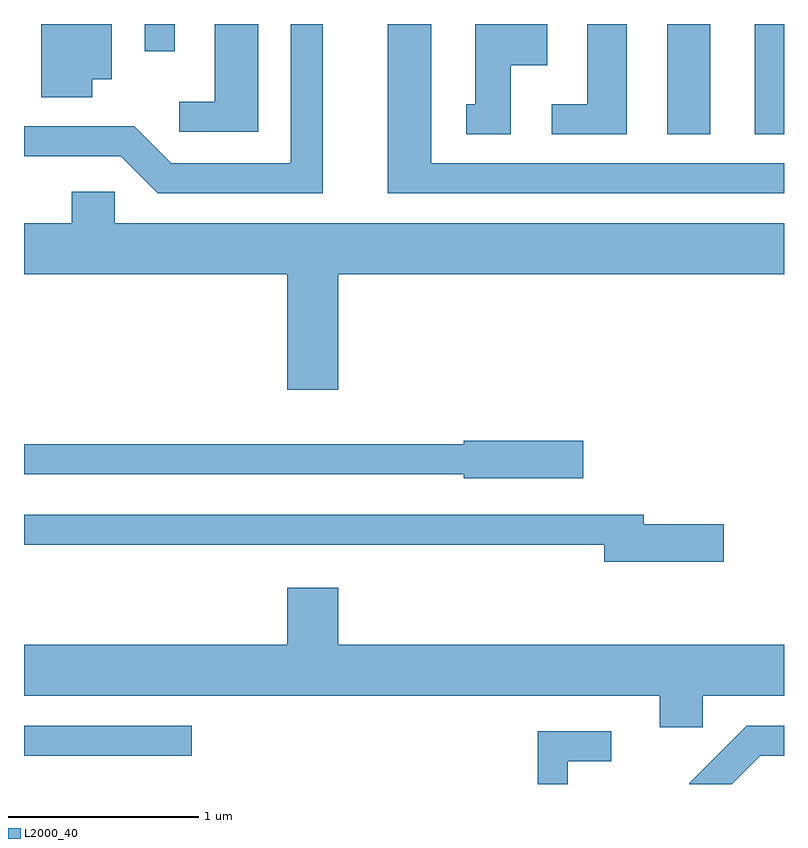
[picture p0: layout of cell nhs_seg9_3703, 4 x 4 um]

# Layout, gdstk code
import gdstk
lib = gdstk.Library(unit=1e-6, precision=1e-09)
def R(c, l, rs):  # rectangles x0, y0, x1, y1
    for r in rs: c.add(gdstk.rectangle(r[:2], r[2:], *l))
def P(c, l, *ps):  # polygons
    for p in ps: c.add(gdstk.Polygon(p, *l))
L2000_40 = (2000, 40)

nhs_seg9_3703 = lib.new_cell('nhs_seg9_3703')
R(nhs_seg9_3703, L2000_40, [(293.611,2022.581,294.493,2022.739), (296.996,2025.851,297.224,2026.432), (297.456,2025.851,297.611,2026.432), (294.246,2026.288,294.404,2026.432)])
P(nhs_seg9_3703, L2000_40, [(296.174,2026.216),(296.364,2026.216),(296.364,2026.432),(295.986,2026.432),(295.986,2026.009),(295.938,2026.009),(295.938,2025.851),(296.174,2025.851)],
  [(294.844,2026.432),(294.616,2026.432),(294.616,2026.024),(294.428,2026.024),(294.428,2025.866),(294.844,2025.866)],
  [(293.969,2026.141),(294.074,2026.141),(294.074,2026.432),(293.701,2026.432),(293.701,2026.046),(293.969,2026.046)],
  [(297.611,2025.699),(295.754,2025.699),(295.754,2026.432),(295.526,2026.432),(295.526,2025.541),(297.611,2025.541)],
  [(295.184,2026.432),(295.016,2026.432),(295.016,2025.699),(294.387,2025.699),(294.192,2025.894),(293.611,2025.894),(293.611,2025.736),(294.119,2025.736),(294.314,2025.541),(295.184,2025.541)],
  [(296.784,2026.432),(296.576,2026.432),(296.576,2026.009),(296.388,2026.009),(296.388,2025.851),(296.784,2025.851)],
  [(295.264,2025.116),(297.611,2025.116),(297.611,2025.384),(294.089,2025.384),(294.089,2025.549),(293.861,2025.549),(293.861,2025.384),(293.611,2025.384),(293.611,2025.116),(294.996,2025.116),(294.996,2024.506),(295.264,2024.506)],
  [(296.554,2024.239),(295.926,2024.239),(295.926,2024.219),(293.611,2024.219),(293.611,2024.061),(295.926,2024.061),(295.926,2024.041),(296.554,2024.041)],
  [(297.294,2023.799),(296.874,2023.799),(296.874,2023.849),(293.611,2023.849),(293.611,2023.691),(296.666,2023.691),(296.666,2023.601),(297.294,2023.601)],
  [(297.184,2022.896),(297.611,2022.896),(297.611,2023.164),(295.264,2023.164),(295.264,2023.464),(294.996,2023.464),(294.996,2023.164),(293.611,2023.164),(293.611,2022.896),(296.956,2022.896),(296.956,2022.731),(297.184,2022.731)],
  [(297.487,2022.581),(297.611,2022.581),(297.611,2022.739),(297.414,2022.739),(297.111,2022.437),(297.111,2022.432),(297.337,2022.432)],
  [(296.474,2022.551),(296.703,2022.551),(296.703,2022.709),(296.316,2022.709),(296.316,2022.432),(296.474,2022.432)])

lib.write_gds('nhs_seg9_3703.gds')
